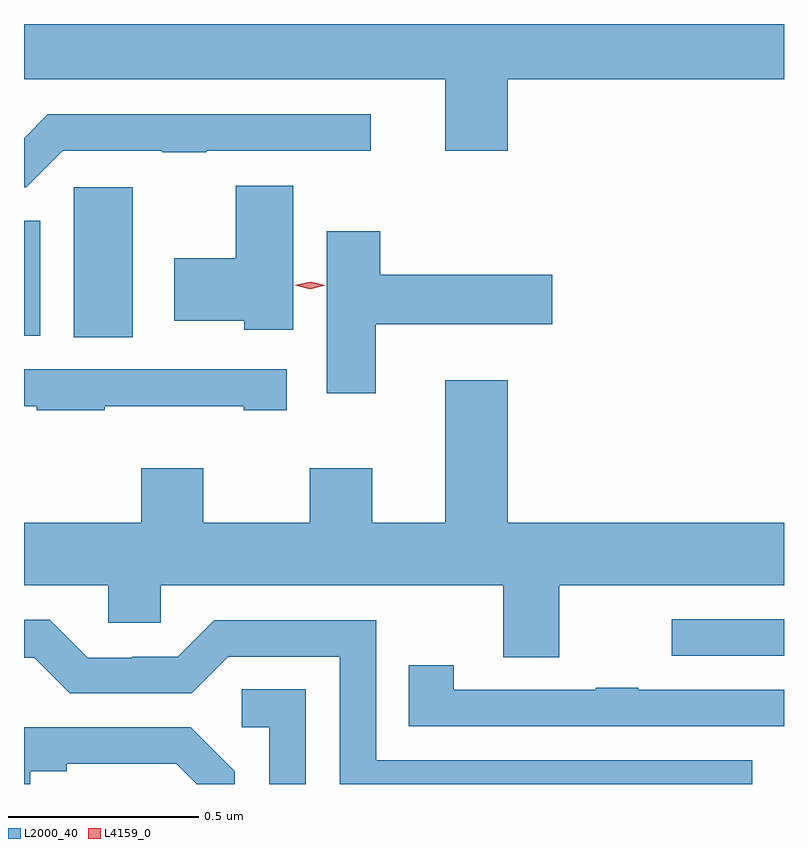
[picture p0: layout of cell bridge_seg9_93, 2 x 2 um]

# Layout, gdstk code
import gdstk
lib = gdstk.Library(unit=1e-6, precision=1e-09)
def R(c, l, rs):  # rectangles x0, y0, x1, y1
    for r in rs: c.add(gdstk.rectangle(r[:2], r[2:], *l))
def P(c, l, *ps):  # polygons
    for p in ps: c.add(gdstk.Polygon(p, *l))
L2000_40 = (2000, 40)
L4159_0 = (4159, 0)

bridge_seg9_93 = lib.new_cell('bridge_seg9_93')
R(bridge_seg9_93, L2000_40, [(669.099,1217.547,669.395,1217.643), (667.526,1218.385,667.681,1218.78), (667.395,1218.389,667.438,1218.691)])
P(bridge_seg9_93, L2000_40, [(668.668,1219.064),(669.395,1219.064),(669.395,1219.209),(667.395,1219.209),(667.395,1219.064),(668.504,1219.064),(668.504,1218.876),(668.668,1218.876)],
  [(667.497,1218.876),(667.759,1218.876),(667.759,1218.871),(667.874,1218.871),(667.874,1218.876),(668.308,1218.876),(668.308,1218.972),(667.458,1218.972),(667.395,1218.909),(667.395,1218.78),(667.401,1218.78)],
  [(668.104,1218.784),(667.952,1218.784),(667.952,1218.592),(667.791,1218.592),(667.791,1218.428),(667.974,1218.428),(667.974,1218.404),(668.104,1218.404)],
  [(668.32,1218.419),(668.785,1218.419),(668.785,1218.549),(668.333,1218.549),(668.333,1218.664),(668.192,1218.664),(668.192,1218.237),(668.32,1218.237)],
  [(667.607,1218.203),(667.973,1218.203),(667.973,1218.192),(668.086,1218.192),(668.086,1218.3),(667.395,1218.3),(667.395,1218.203),(667.429,1218.203),(667.429,1218.192),(667.607,1218.192)],
  [(668.803,1217.732),(669.395,1217.732),(669.395,1217.896),(668.668,1217.896),(668.668,1218.271),(668.504,1218.271),(668.504,1217.896),(668.311,1217.896),(668.311,1218.04),(668.147,1218.04),(668.147,1217.896),(667.867,1217.896),(667.867,1218.04),(667.703,1218.04),(667.703,1217.896),(667.395,1217.896),(667.395,1217.732),(667.617,1217.732),(667.617,1217.634),(667.755,1217.634),(667.755,1217.732),(668.656,1217.732),(668.656,1217.542),(668.803,1217.542)],
  [(669.312,1217.271),(668.322,1217.271),(668.322,1217.64),(667.896,1217.64),(667.8,1217.544),(667.68,1217.544),(667.68,1217.541),(667.563,1217.541),(667.463,1217.641),(667.395,1217.641),(667.395,1217.541),(667.422,1217.541),(667.515,1217.448),(667.836,1217.448),(667.932,1217.544),(668.226,1217.544),(668.226,1217.209),(669.312,1217.209)],
  [(669.395,1217.457),(669.011,1217.457),(669.011,1217.462),(668.899,1217.462),(668.899,1217.457),(668.526,1217.457),(668.526,1217.521),(668.407,1217.521),(668.407,1217.361),(669.395,1217.361)],
  [(668.136,1217.459),(667.968,1217.459),(667.968,1217.358),(668.04,1217.358),(668.04,1217.209),(668.136,1217.209)],
  [(667.411,1217.242),(667.507,1217.242),(667.507,1217.262),(667.796,1217.262),(667.849,1217.209),(667.95,1217.209),(667.95,1217.242),(667.834,1217.358),(667.395,1217.358),(667.395,1217.209),(667.411,1217.209)])
P(bridge_seg9_93, L4159_0, [(668.148,1218.511),(668.108,1218.521),(668.108,1218.521),(668.108,1218.522),(668.148,1218.531),(668.188,1218.522),(668.188,1218.521),(668.188,1218.521)])

lib.write_gds('bridge_seg9_93.gds')
